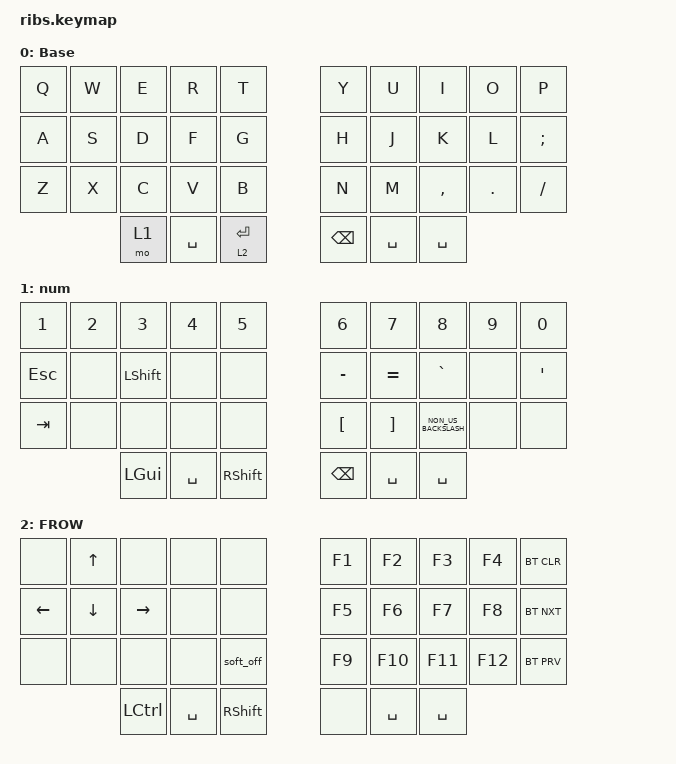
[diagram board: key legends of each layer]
#include <behaviors.dtsi>
#include <dt-bindings/zmk/bt.h>
#include <dt-bindings/zmk/keys.h>

/{

    keymap {
        compatible = "zmk,keymap";

        default_layer {
            label = "Base";
            bindings = <
&kp Q           &kp W            &kp E             &kp R        &kp T      &kp Y        &kp U          &kp I              &kp O            &kp P
&kp A           &kp S            &kp D             &kp F        &kp G      &kp H        &kp J          &kp K              &kp L            &kp SEMICOLON
&kp Z           &kp X            &kp C             &kp V        &kp B      &kp N        &kp M          &kp COMMA          &kp DOT          &kp SLASH
                                                   &mo 1        &kp SPACE  &lt 2 ENTER  &kp BACKSPACE &kp SPACE &kp SPACE
            >;
        };

        numbers {
            label = "num";
            bindings = <
&kp NUMBER_1  &kp NUMBER_2  &kp NUMBER_3    &kp NUMBER_4  &kp NUMBER_5  &kp NUMBER_6   &kp NUMBER_7       &kp NUMBER_8       &kp NUMBER_9  &kp NUMBER_0
&kp ESC       &none         &kp LEFT_SHIFT  &none         &none      &kp MINUS         &kp EQUAL          &kp GRAVE             &none   &kp SQT
&kp TAB       &none         &none           &none         &none      &kp LEFT_BRACKET  &kp RIGHT_BRACKET  &kp NON_US_BACKSLASH  &none   &none
                                            &kp LGUI      &kp SPACE  &kp RSHIFT        &kp BACKSPACE &kp SPACE &kp SPACE
            >;
        };

        f_row {
            label = "FROW";
            bindings = <
&none           &kp UP_ARROW    &none            &none      &none      &kp F1      &kp F2   &kp F3   &kp F4   &bt BT_CLR
&kp LEFT_ARROW  &kp DOWN_ARROW  &kp RIGHT_ARROW  &none      &none      &kp F5      &kp F6   &kp F7   &kp F8   &bt BT_NXT
&none           &none           &none            &none      &soft_off       &kp F9      &kp F10  &kp F11  &kp F12  &bt BT_PRV
                                                 &kp LCTRL  &kp SPACE  &kp RSHIFT  &none &kp SPACE &kp SPACE
            >;
        };
    };
};
